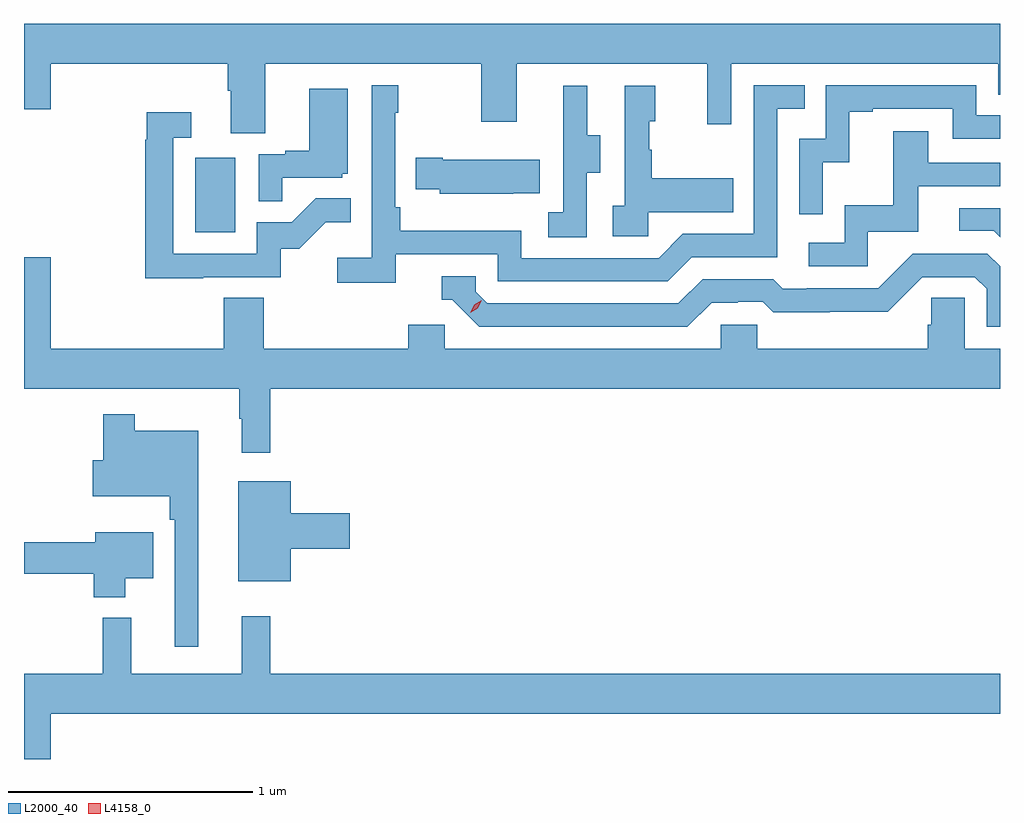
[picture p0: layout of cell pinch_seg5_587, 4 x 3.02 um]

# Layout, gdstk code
import gdstk
lib = gdstk.Library(unit=1e-6, precision=1e-09)
def R(c, l, rs):  # rectangles x0, y0, x1, y1
    for r in rs: c.add(gdstk.rectangle(r[:2], r[2:], *l))
def P(c, l, *ps):  # polygons
    for p in ps: c.add(gdstk.Polygon(p, *l))
L2000_40 = (2000, 40)
L4158_0 = (4158, 0)

pinch_seg5_587 = lib.new_cell('pinch_seg5_587')
R(pinch_seg5_587, L2000_40, [(1124.804,864.06,1124.968,864.367)])
P(pinch_seg5_587, L2000_40, [(1125.091,864.752),(1125.976,864.752),(1125.976,864.513),(1126.123,864.513),(1126.123,864.752),(1126.904,864.752),(1126.904,864.504),(1127.001,864.504),(1127.001,864.752),(1128.096,864.752),(1128.096,864.625),(1128.103,864.625),(1128.103,864.916),(1124.103,864.916),(1124.103,864.564),(1124.212,864.564),(1124.212,864.752),(1124.939,864.752),(1124.939,864.64),(1124.951,864.64),(1124.951,864.466),(1125.091,864.466)],
  [(1125.626,863.97),(1126.044,863.97),(1126.044,863.859),(1126.741,863.859),(1126.84,863.958),(1127.19,863.958),(1127.19,864.567),(1127.303,864.567),(1127.303,864.663),(1127.094,864.663),(1127.094,864.054),(1126.803,864.054),(1126.704,863.955),(1126.14,863.955),(1126.14,864.067),(1125.644,864.067),(1125.644,864.163),(1125.624,864.163),(1125.624,864.551),(1125.637,864.551),(1125.637,864.664),(1125.528,864.664),(1125.528,863.956),(1125.387,863.956),(1125.387,863.854),(1125.626,863.854)],
  [(1127.376,864.347),(1127.486,864.347),(1127.486,864.555),(1127.581,864.555),(1127.581,864.567),(1127.91,864.567),(1127.91,864.444),(1128.103,864.444),(1128.103,864.54),(1128.006,864.54),(1128.006,864.663),(1127.388,864.663),(1127.388,864.444),(1127.28,864.444),(1127.28,864.135),(1127.376,864.135)],
  [(1126.662,864.143),(1127.009,864.143),(1127.009,864.283),(1126.675,864.283),(1126.675,864.398),(1126.665,864.398),(1126.665,864.516),(1126.69,864.516),(1126.69,864.661),(1126.566,864.661),(1126.566,864.17),(1126.515,864.17),(1126.515,864.045),(1126.662,864.045)],
  [(1126.41,864.304),(1126.465,864.304),(1126.465,864.459),(1126.411,864.459),(1126.411,864.661),(1126.313,864.661),(1126.313,864.447),(1126.314,864.447),(1126.314,864.143),(1126.251,864.143),(1126.251,864.04),(1126.41,864.04)],
  [(1125.161,864.285),(1125.408,864.285),(1125.408,864.3),(1125.43,864.3),(1125.43,864.649),(1125.272,864.649),(1125.272,864.394),(1125.173,864.394),(1125.173,864.381),(1125.066,864.381),(1125.066,864.187),(1125.161,864.187)],
  [(1124.837,863.877),(1125.156,863.877),(1125.156,863.994),(1125.232,863.994),(1125.339,864.101),(1125.443,864.101),(1125.443,864.2),(1125.299,864.2),(1125.201,864.102),(1125.057,864.102),(1125.057,863.973),(1124.715,863.973),(1124.715,864.447),(1124.788,864.447),(1124.788,864.553),(1124.607,864.553),(1124.607,864.44),(1124.599,864.44),(1124.599,863.872),(1124.837,863.872)],
  [(1127.562,864.063),(1127.767,864.063),(1127.767,864.249),(1128.103,864.249),(1128.103,864.345),(1127.809,864.345),(1127.809,864.475),(1127.665,864.475),(1127.665,864.172),(1127.466,864.172),(1127.466,864.018),(1127.319,864.018),(1127.319,863.922),(1127.562,863.922)],
  [(1126.109,864.221),(1126.217,864.221),(1126.217,864.358),(1125.82,864.358),(1125.82,864.366),(1125.709,864.366),(1125.709,864.236),(1125.807,864.236),(1125.807,864.218),(1126.109,864.218)],
  [(1128.103,864.159),(1127.937,864.159),(1127.937,864.066),(1128.078,864.066),(1128.103,864.041)],
  [(1126.921,863.772),(1127.028,863.772),(1127.028,863.775),(1127.131,863.775),(1127.173,863.733),(1127.406,863.733),(1127.406,863.735),(1127.642,863.735),(1127.784,863.877),(1128,863.877),(1128.048,863.829),(1128.048,863.673),(1128.103,863.673),(1128.103,863.921),(1128.051,863.973),(1127.745,863.973),(1127.604,863.832),(1127.311,863.832),(1127.311,863.829),(1127.212,863.829),(1127.173,863.868),(1126.884,863.868),(1126.785,863.769),(1126.002,863.769),(1125.954,863.817),(1125.954,863.88),(1125.815,863.88),(1125.815,863.784),(1125.858,863.784),(1125.969,863.673),(1126.822,863.673)],
  [(1124.103,863.959),(1124.103,863.42),(1124.985,863.42),(1124.985,863.297),(1124.996,863.297),(1124.996,863.157),(1125.113,863.157),(1125.113,863.42),(1128.103,863.42),(1128.103,863.584),(1127.958,863.584),(1127.958,863.792),(1127.821,863.792),(1127.821,863.682),(1127.807,863.682),(1127.807,863.584),(1127.109,863.584),(1127.109,863.682),(1126.959,863.682),(1126.959,863.584),(1125.828,863.584),(1125.828,863.682),(1125.677,863.682),(1125.677,863.584),(1125.086,863.584),(1125.086,863.792),(1124.921,863.792),(1124.921,863.584),(1124.212,863.584),(1124.212,863.959)],
  [(1124.818,863.248),(1124.557,863.248),(1124.557,863.314),(1124.428,863.314),(1124.428,863.127),(1124.384,863.127),(1124.384,862.979),(1124.701,862.979),(1124.701,862.883),(1124.721,862.883),(1124.721,862.362),(1124.818,862.362)],
  [(1125.196,862.763),(1125.439,862.763),(1125.439,862.91),(1125.196,862.91),(1125.196,863.041),(1124.981,863.041),(1124.981,862.631),(1125.196,862.631)],
  [(1124.518,862.643),(1124.632,862.643),(1124.632,862.831),(1124.396,862.831),(1124.396,862.79),(1124.103,862.79),(1124.103,862.662),(1124.389,862.662),(1124.389,862.565),(1124.518,862.565)],
  [(1124.212,862.088),(1128.103,862.088),(1128.103,862.252),(1125.113,862.252),(1125.113,862.486),(1124.996,862.486),(1124.996,862.252),(1124.543,862.252),(1124.543,862.48),(1124.425,862.48),(1124.425,862.252),(1124.103,862.252),(1124.103,861.9),(1124.212,861.9)])
P(pinch_seg5_587, L4158_0, [(1125.931,863.731),(1125.931,863.731),(1125.948,863.763),(1125.979,863.782),(1125.979,863.782),(1125.979,863.782),(1125.962,863.749),(1125.931,863.731)])

lib.write_gds('pinch_seg5_587.gds')
